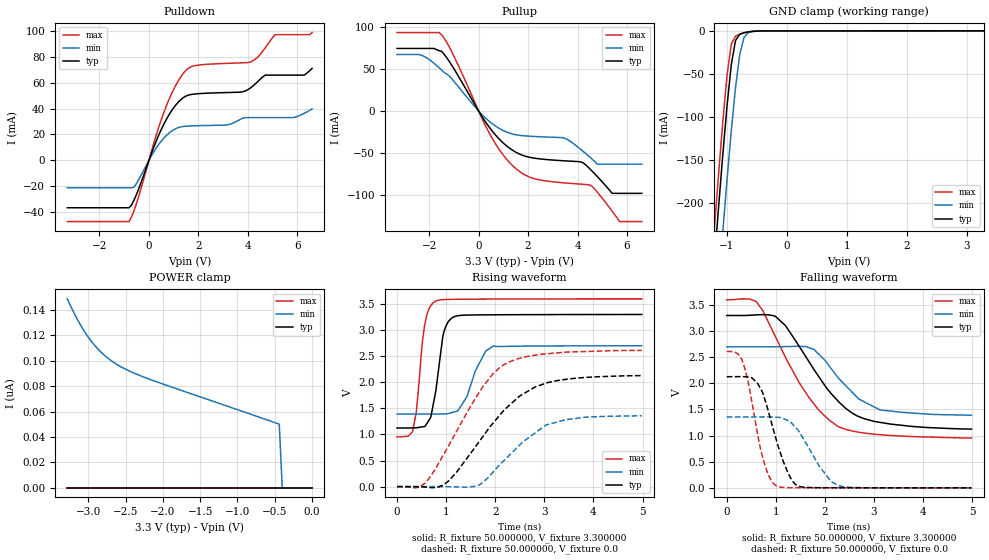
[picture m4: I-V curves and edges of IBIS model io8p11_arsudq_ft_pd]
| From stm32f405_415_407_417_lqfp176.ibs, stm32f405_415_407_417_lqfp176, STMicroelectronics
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|   Model io8p11_arsudq_ft_pd
[Model]  io8p11_arsudq_ft_pd
Model_type I/O
Polarity   Non-Inverting
Enable   Active-Low
Vinl =   0.990000V
Vinh =   2.310000V
Vmeas =  1.650000V
Cref =   30.000000pF
Rref =   100.000000M
Vref =   0.0V
C_comp   2.292100pF   2.228000pF   2.366600pF
[Temperature Range]   25.000000   0.125000k   -40.000000
[Pullup Reference]   3.300000V   2.700000V   3.600000V
[Pulldown Reference]   0.0V   0.0V   0.0V
[POWER Clamp Reference]   3.300000V   2.700000V   3.600000V
[GND Clamp Reference]   0.0V   0.0V   0.0V
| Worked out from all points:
|   slope of the pulldown table from 0 to 0.495 V, typ, clamps not added: 20.9 ohm
|   slope of the pullup table from 0 to 0.495 V, typ, clamps not added: 22.6 ohm
|   GND clamp passes 1 mA (typ) near -0.62 V on its own axis
|   rising waveform, R_fixture 50.000000, V_fixture 3.300000: 20-80 % time 197ps typ, 342ps min, 161ps max; typ from 1.12 V to 3.3 V
|   rising waveform, R_fixture 50.000000, V_fixture 0.0: 20-80 % time 1.13ns typ, 947ps min, 998ps max; typ from 0 V to 2.13 V
|   falling waveform, R_fixture 50.000000, V_fixture 3.300000: 20-80 % time 1.01ns typ, 785ps min, 978ps max; typ from 3.3 V to 1.12 V
|   falling waveform, R_fixture 50.000000, V_fixture 0.0: 20-80 % time 414ps typ, 535ps min, 331ps max; typ from 2.13 V to 0 V
[Pulldown]
|Voltage   I(typ)   I(min)   I(max)
-3.3V     -36.46mA   -21.1mA    -47.09mA
-800mV    -36.46mA   -21.1mA    -47.09mA
-600mV    -30.5mA    -20.54mA   -38.69mA
700mV     31.4mA     19.11mA    41.71mA
1.2V      45.15mA    25.37mA    61.75mA
1.6V      50.35mA    26.5mA     71.06mA
3.1V      52.27mA    27.26mA    74.75mA
4.1V      55.7mA     32.99mA    75.8mA
4.7V      65.72mA    32.99mA    86.69mA
5.1V      65.72mA    32.99mA    96.9mA
6.3V      65.87mA    36.5mA     96.9mA
6.6V      70.93mA    39.71mA    98.5mA
[Pullup]
|Voltage   I(typ)   I(min)   I(max)
-3.3V     74.73mA    67.41mA    93.65mA
-2.3V     74.73mA    66.57mA    93.65mA
-1.5V     71.37mA    49.01mA    91.08mA
500mV     -22.07mA   -14mA      -30.03mA
1.6V      -50.64mA   -28.81mA   -70.96mA
3.5V      -59.53mA   -32.65mA   -85.92mA
4.2V      -61.43mA   -47.48mA   -87.46mA
4.5V      -69.06mA   -55.13mA   -88.38mA
4.8V      -78.23mA   -63.5mA    -96.84mA
5.4V      -98.3mA    -63.5mA    -119.6mA
5.7V      -98.3mA    -63.5mA    -132mA
6.6V      -98.3mA    -63.5mA    -132mA
[GND_clamp]
|Voltage   I(typ)   I(min)   I(max)
-3.3V     -2.315A    -2.395A    -2.287A
-1.2V     -265.5mA   -356.1mA   -227.2mA
-1.13V    -202.7mA   -292.9mA   -164.1mA
-1.06V    -142.2mA   -231.2mA   -104.1mA
-990mV    -85.98mA   -171.6mA   -50.73mA
-920mV    -38.81mA   -115.5mA   -15.29mA
-850mV    -11.09mA   -65.61mA   -6.016mA
-780mV    -3.793mA   -27.42mA   -3.89mA
-710mV    -2.098mA   -7.698mA   -2.396mA
-640mV    -1.159mA   -2.127mA   -1.234mA
-570mV    -535.1uA   -807.4uA   -490.2uA
3.28V     81.28uA    57.87uA    93.98uA
[POWER_clamp]
|Voltage   I(typ)   I(min)   I(max)
-3.28V    0A         148.5nA    0A
-3.2V     0A         138.6nA    0A
-3.12V    0A         129.7nA    0A
-3.04V    0A         122nA      0A
-2.96V    0A         115.3nA    0A
-2.8V     0A         105.1nA    0A
-2.6V     0A         96.44nA    0A
-2.4V     0A         90.52nA    0A
-2.16V    0A         84.97nA    0A
-440mV    0A         50.04nA    0A
-400mV    0A         0A         0A
0V        0A         0A         0A
[Ramp]
| variable   typ   min   max
dV/dt_r  1.26078/1.11589n   0.80526/0.93834n   1.55994/0.99620n
dV/dt_f  1.27656/0.99515n   0.77106/0.76088n   1.56956/0.97105n
R_load = 50.000000
[Rising Waveform]
R_fixture= 50.000000
V_fixture= 3.300000
V_fixture_min= 2.700000
V_fixture_max= 3.600000
|time   V(typ)   V(min)   V(max)
0s        1.123V     1.391V     953.9mV
320.3ps   1.126V     1.391V     1.078V
390.4ps   1.127V     1.391V     1.413V
560.6ps   1.152V     1.391V     3.084V
690.7ps   1.344V     1.39V      3.472V
780.8ps   1.787V     1.39V      3.552V
951ps     2.952V     1.393V     3.584V
1.171ns   3.259V     1.434V     3.589V
1.962ns   3.293V     2.694V     3.594V
4.985ns   3.299V     2.699V     3.598V
[Rising Waveform]
R_fixture= 50.000000
V_fixture= 0.0
V_fixture_min= 0.0
V_fixture_max= 0.0
|time   V(typ)   V(min)   V(max)
0s        345.8uV    197uV      652uV
470.5ps   -2.822mV   136.3uV    -123uV
650.7ps   -14.07mV   197.3uV    155.3mV
951ps     37.14mV    -1.041mV   616.5mV
1.662ns   848mV      26.7mV     1.787V
2.182ns   1.469V     504.1mV    2.341V
2.503ns   1.738V     801.3mV    2.46V
3.043ns   1.985V     1.184V     2.545V
3.854ns   2.093V     1.332V     2.589V
4.985ns   2.127V     1.357V     2.611V
[Falling Waveform]
R_fixture= 50.000000
V_fixture= 3.300000
V_fixture_min= 2.700000
V_fixture_max= 3.600000
|time   V(typ)   V(min)   V(max)
0s        3.299V     2.699V     3.598V
600.6ps   3.311V     2.699V     3.565V
740.7ps   3.314V     2.699V     3.382V
991ps     3.282V     2.7V       2.894V
1.201ns   3.098V     2.704V     2.489V
1.772ns   2.272V     2.65V      1.611V
2.272ns   1.656V     2.103V     1.171V
2.693ns   1.363V     1.698V     1.065V
3.123ns   1.253V     1.491V     1.017V
4.985ns   1.123V     1.391V     953.9mV
[Falling Waveform]
R_fixture= 50.000000
V_fixture= 0.0
V_fixture_min= 0.0
V_fixture_max= 0.0
|time   V(typ)   V(min)   V(max)
0s        2.127V     1.357V     2.611V
310.3ps   2.128V     1.357V     2.452V
450.5ps   2.117V     1.357V     1.959V
720.7ps   1.843V     1.358V     624.7mV
870.9ps   1.385V     1.358V     203.6mV
1.011ns   912.7mV    1.351V     38.3mV
1.391ns   72.48mV    1.167V     2.895mV
1.872ns   3.192mV    434.6mV    1.884mV
2.282ns   1.722mV    39.35mV    1.565mV
4.985ns   345.8uV    197uV      652uV
